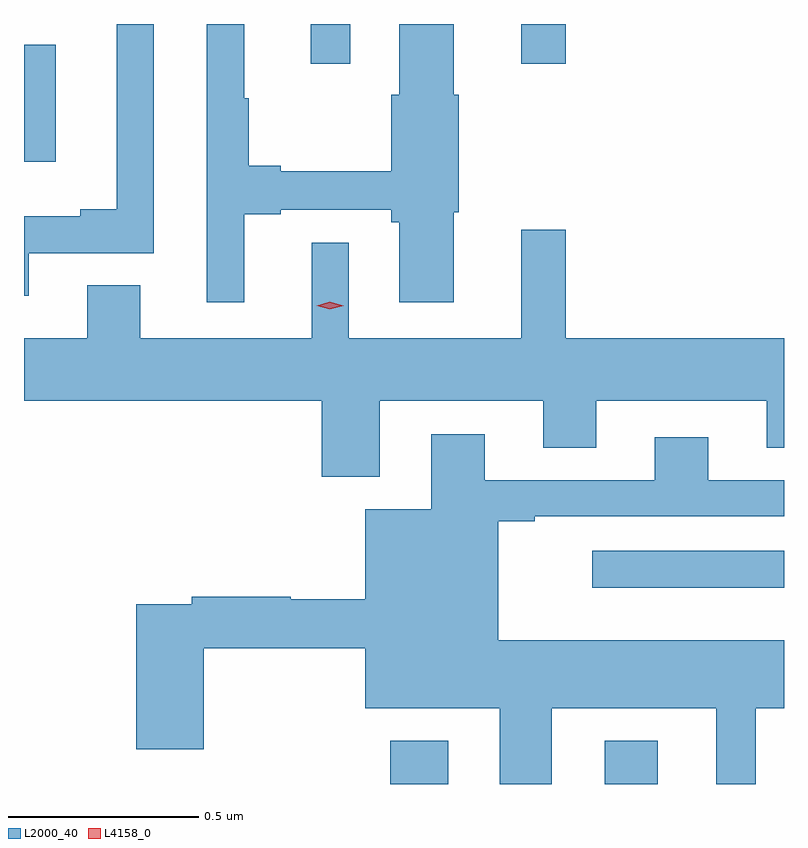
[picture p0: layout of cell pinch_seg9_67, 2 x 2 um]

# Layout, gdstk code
import gdstk
lib = gdstk.Library(unit=1e-6, precision=1e-09)
def R(c, l, rs):  # rectangles x0, y0, x1, y1
    for r in rs: c.add(gdstk.rectangle(r[:2], r[2:], *l))
def P(c, l, *ps):  # polygons
    for p in ps: c.add(gdstk.Polygon(p, *l))
L2000_40 = (2000, 40)
L4158_0 = (4158, 0)

pinch_seg9_67 = lib.new_cell('pinch_seg9_67')
R(pinch_seg9_67, L2000_40, [(903.041,1183.423,903.193,1183.537), (903.605,1183.423,903.745,1183.537), (903.573,1183.94,904.077,1184.037), (902.077,1185.06,902.161,1185.369), (902.831,1185.318,902.935,1185.423), (903.386,1185.318,903.503,1185.423)])
P(pinch_seg9_67, L2000_40, [(902.657,1184.922),(902.752,1184.922),(902.752,1184.934),(903.043,1184.934),(903.043,1184.901),(903.065,1184.901),(903.065,1184.691),(903.208,1184.691),(903.208,1184.927),(903.221,1184.927),(903.221,1185.237),(903.208,1185.237),(903.208,1185.423),(903.065,1185.423),(903.065,1185.237),(903.043,1185.237),(903.043,1185.035),(902.752,1185.035),(902.752,1185.05),(902.668,1185.05),(902.668,1185.227),(902.656,1185.227),(902.656,1185.423),(902.558,1185.423),(902.558,1184.691),(902.657,1184.691)],
  [(902.089,1184.82),(902.419,1184.82),(902.419,1185.423),(902.321,1185.423),(902.321,1184.936),(902.225,1184.936),(902.225,1184.917),(902.077,1184.917),(902.077,1184.708),(902.089,1184.708)],
  [(903.013,1184.432),(903.443,1184.432),(903.443,1184.308),(903.583,1184.308),(903.583,1184.432),(904.031,1184.432),(904.031,1184.308),(904.077,1184.308),(904.077,1184.596),(903.503,1184.596),(903.503,1184.881),(903.386,1184.881),(903.386,1184.596),(902.931,1184.596),(902.931,1184.848),(902.834,1184.848),(902.834,1184.596),(902.383,1184.596),(902.383,1184.735),(902.243,1184.735),(902.243,1184.596),(902.077,1184.596),(902.077,1184.432),(902.861,1184.432),(902.861,1184.231),(903.013,1184.231)],
  [(903.466,1183.622),(903.899,1183.622),(903.899,1183.423),(904.003,1183.423),(904.003,1183.622),(904.077,1183.622),(904.077,1183.801),(903.325,1183.801),(903.325,1184.115),(903.421,1184.115),(903.421,1184.127),(904.077,1184.127),(904.077,1184.223),(903.877,1184.223),(903.877,1184.335),(903.737,1184.335),(903.737,1184.223),(903.289,1184.223),(903.289,1184.344),(903.149,1184.344),(903.149,1184.146),(902.975,1184.146),(902.975,1183.909),(902.779,1183.909),(902.779,1183.916),(902.518,1183.916),(902.518,1183.896),(902.372,1183.896),(902.372,1183.515),(902.55,1183.515),(902.55,1183.78),(902.975,1183.78),(902.975,1183.622),(903.329,1183.622),(903.329,1183.423),(903.466,1183.423)])
P(pinch_seg9_67, L4158_0, [(902.882,1184.672),(902.847,1184.682),(902.847,1184.682),(902.847,1184.682),(902.882,1184.692),(902.918,1184.682),(902.918,1184.682),(902.918,1184.682)])

lib.write_gds('pinch_seg9_67.gds')
